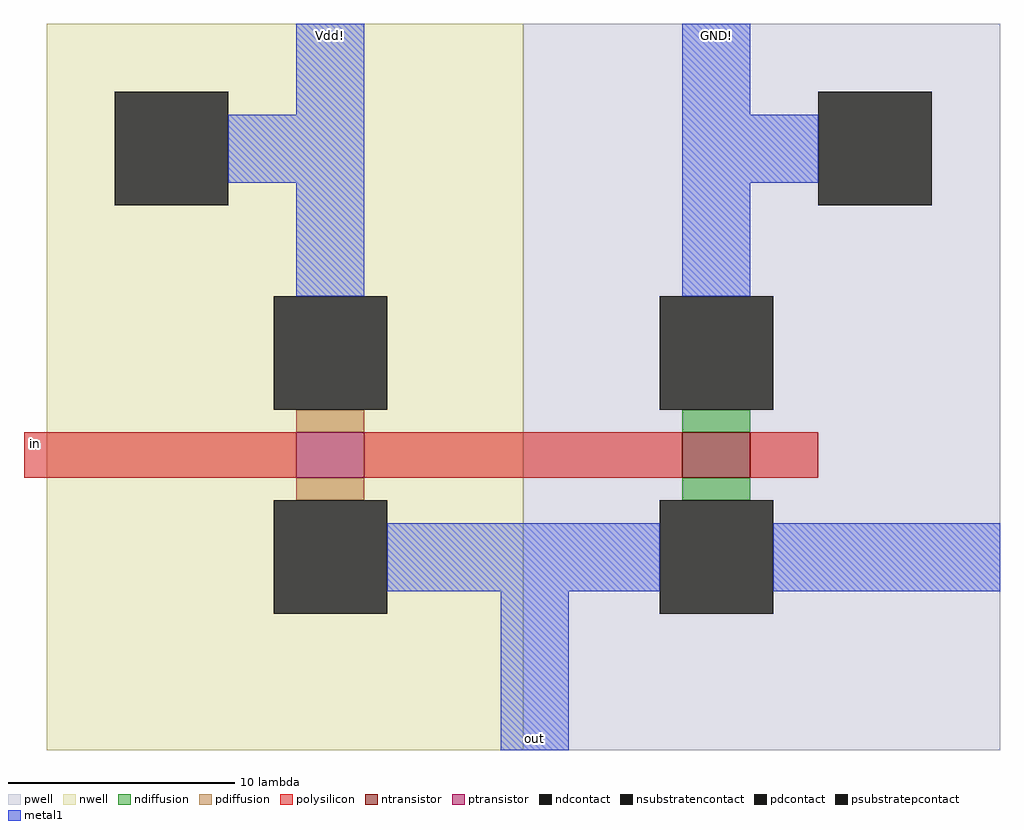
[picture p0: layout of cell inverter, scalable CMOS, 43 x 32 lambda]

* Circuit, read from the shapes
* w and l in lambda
.subckt inverter GND! Vdd! in out
M1 GND! in out GND! nfet w=3 l=2
M2 Vdd! in out Vdd! pfet w=3 l=2
.ends

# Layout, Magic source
magic
tech scmos
<< nwell >>
rect -9 -9 12 23
<< pwell >>
rect 12 -9 33 23
<< ntransistor >>
rect 19 3 22 5
<< ptransistor >>
rect 2 3 5 5
<< ndiffusion >>
rect 19 5 22 6
rect 19 2 22 3
<< pdiffusion >>
rect 2 5 5 6
rect 2 2 5 3
<< ndcontact >>
rect 18 6 23 11
rect 18 -3 23 2
<< pdcontact >>
rect 1 6 6 11
rect 1 -3 6 2
<< psubstratepcontact >>
rect 25 15 30 20
<< nsubstratencontact >>
rect -6 15 -1 20
<< polysilicon >>
rect -10 3 2 5
rect 5 3 19 5
rect 22 3 25 5
<< metal1 >>
rect 2 19 5 23
rect -1 16 5 19
rect 2 11 5 16
rect 19 19 22 23
rect 19 16 25 19
rect 19 11 22 16
rect 6 -2 18 1
rect 11 -9 14 -2
rect 23 -2 33 1
<< labels >>
rlabel polysilicon -10 4 -9 5 3 in
rlabel metal1 12 -9 13 -8 1 out
rlabel metal1 20 22 21 23 5 GND!
rlabel metal1 3 22 4 23 5 Vdd!
<< end >>
